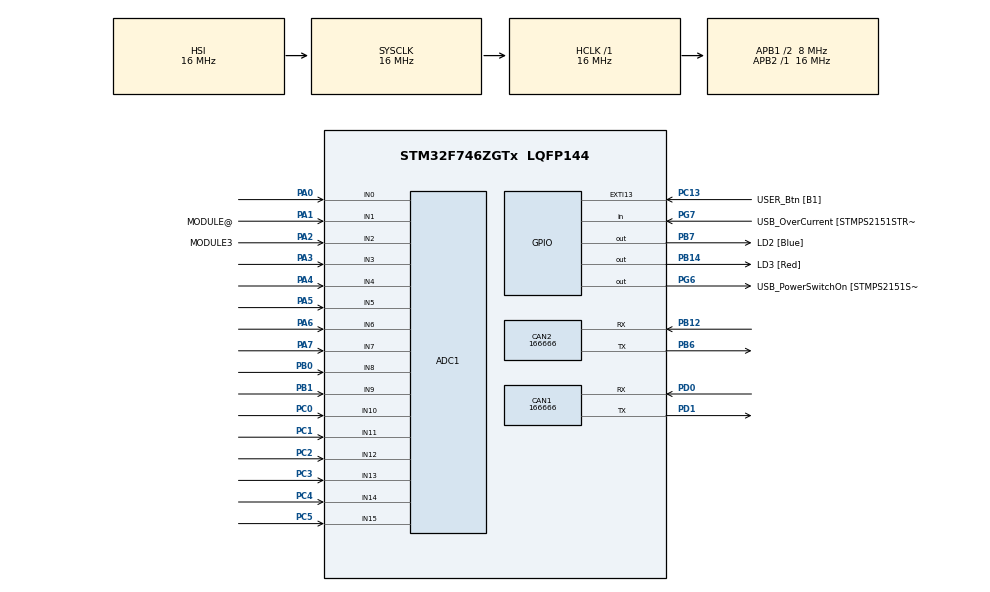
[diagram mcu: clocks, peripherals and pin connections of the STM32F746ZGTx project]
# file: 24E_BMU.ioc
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ADC1.Channel-0\#ChannelRegularConversion=ADC_CHANNEL_1
ADC1.ContinuousConvMode=DISABLE
ADC1.NbrOfConversionFlag=1
ADC1.Rank-0\#ChannelRegularConversion=1
ADC1.SamplingTime-0\#ChannelRegularConversion=ADC_SAMPLETIME_3CYCLES
ADC1.ScanConvMode=ADC_SCAN_ENABLE
ADC1.master=1
CAN1.CalculateBaudRate=166666
CAN1.CalculateTimeBit=6000
CAN1.CalculateTimeQuantum=2000.0
CAN2.CalculateBaudRate=166666
CAN2.CalculateTimeBit=6000
CAN2.CalculateTimeQuantum=2000.0
Mcu.Family=STM32F7
Mcu.Name=STM32F746ZGTx
Mcu.Package=LQFP144
NVIC.PriorityGroup=NVIC_PRIORITYGROUP_4
PA0/WKUP.Signal=ADCx_IN0
PA1.GPIO_Label=MODULE@
PA1.Signal=ADCx_IN1
PA10.GPIO_Label=USB_ID
PA10.Signal=USB_OTG_FS_ID
PA11.GPIO_Label=USB_DM
PA11.Signal=USB_OTG_FS_DM
PA12.GPIO_Label=USB_DP
PA12.Signal=USB_OTG_FS_DP
PA13.GPIO_Label=TMS
PA13.Signal=SYS_JTMS-SWDIO
PA14.GPIO_Label=TCK
PA14.Signal=SYS_JTCK-SWCLK
PA2.GPIO_Label=MODULE3
PA2.Signal=ADCx_IN2
PA3.Signal=ADCx_IN3
PA4.Signal=ADCx_IN4
PA5.Signal=ADCx_IN5
PA6.Signal=ADCx_IN6
PA7.Signal=ADCx_IN7
PA8.GPIO_Label=USB_SOF [TP1]
PA8.Signal=USB_OTG_FS_SOF
PA9.GPIO_Label=USB_VBUS
PA9.Signal=USB_OTG_FS_VBUS
PB0.Signal=ADCx_IN8
PB1.Signal=ADCx_IN9
PB12.Mode=CAN_Activate
PB12.Signal=CAN2_RX
PB13.GPIO_Label=RMII_TXD1 [LAN8742A-CZ-TR_TXD1]
PB13.Signal=ETH_TXD1
PB14.GPIO_Label=LD3 [Red]
PB14.Signal=GPIO_Output
PB3.GPIO_Label=SW0
PB3.Signal=SYS_JTDO-SWO
PB6.Mode=CAN_Activate
PB6.Signal=CAN2_TX
PB7.GPIO_Label=LD2 [Blue]
PB7.Signal=GPIO_Output
PC0.Signal=ADCx_IN10
PC1.Signal=ADCx_IN11
PC13.GPIO_Label=USER_Btn [B1]
PC13.Signal=GPXTI13
PC14/OSC32_IN.Signal=RCC_OSC32_IN
PC15/OSC32_OUT.Signal=RCC_OSC32_OUT
PC2.Signal=ADCx_IN12
PC3.Signal=ADCx_IN13
PC4.Signal=ADCx_IN14
PC5.Signal=ADCx_IN15
PD0.Mode=CAN_Activate
PD0.Signal=CAN1_RX
PD1.Mode=CAN_Activate
PD1.Signal=CAN1_TX
PD8.GPIO_Label=STLK_RX [STM32F103CBT6_PA3]
PD8.Signal=USART3_TX
PD9.GPIO_Label=STLK_TX [STM32F103CBT6_PA2]
PD9.Signal=USART3_RX
PG11.GPIO_Label=RMII_TX_EN [LAN8742A-CZ-TR_TXEN]
PG11.Signal=ETH_TX_EN
PG13.GPIO_Label=RMII_TXD0 [LAN8742A-CZ-TR_TXD0]
PG13.Signal=ETH_TXD0
PG6.GPIO_Label=USB_PowerSwitchOn [STMPS2151STR_EN]
PG6.Signal=GPIO_Output
PG7.GPIO_Label=USB_OverCurrent [STMPS2151STR_FAULT]
PG7.Signal=GPIO_Input
PH0/OSC_IN.GPIO_Label=MCO [STM32F103CBT6_PA8]
PH0/OSC_IN.Signal=RCC_OSC_IN
PH1/OSC_OUT.Signal=RCC_OSC_OUT
ProjectManager.HeapSize=0x200
ProjectManager.StackSize=0x400
ProjectManager.TargetToolchain=STM32CubeIDE
RCC.48MHZClocksFreq_Value=24000000
RCC.AHBFreq_Value=16000000
RCC.APB1CLKDivider=RCC_HCLK_DIV2
RCC.APB1Freq_Value=8000000
RCC.APB1TimFreq_Value=16000000
RCC.APB2Freq_Value=16000000
RCC.APB2TimFreq_Value=16000000
RCC.CortexFreq_Value=16000000
RCC.HCLKFreq_Value=16000000
RCC.HSE_VALUE=8000000
RCC.HSI_VALUE=16000000
RCC.LSE_VALUE=32768
RCC.PLLMUL=RCC_PLL_MUL9
RCC.PRESCALERUSB=RCC_USBCLKSOURCE_PLL_DIV1_5
RCC.SYSCLKFreq_VALUE=16000000
RCC.SYSCLKSourceVirtual=RCC_SYSCLKSOURCE_PLLCLK
RCC.USBFreq_Value=96000000
RCC.VCOOutputFreq_Value=192000000
SH.ADCx_IN0.0=ADC1_IN0,IN0
SH.ADCx_IN1.0=ADC1_IN1,IN1
SH.ADCx_IN10.0=ADC1_IN10,IN10
SH.ADCx_IN11.0=ADC1_IN11,IN11
SH.ADCx_IN12.0=ADC1_IN12,IN12
SH.ADCx_IN13.0=ADC1_IN13,IN13
SH.ADCx_IN14.0=ADC1_IN14,IN14
SH.ADCx_IN15.0=ADC1_IN15,IN15
SH.ADCx_IN2.0=ADC1_IN2,IN2
SH.ADCx_IN3.0=ADC1_IN3,IN3
SH.ADCx_IN4.0=ADC1_IN4,IN4
SH.ADCx_IN5.0=ADC1_IN5,IN5
SH.ADCx_IN6.0=ADC1_IN6,IN6
SH.ADCx_IN7.0=ADC1_IN7,IN7
SH.ADCx_IN8.0=ADC1_IN8,IN8
SH.ADCx_IN9.0=ADC1_IN9,IN9
board=NUCLEO-F746ZG

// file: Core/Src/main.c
/* USER CODE BEGIN Header */
/**
  ******************************************************************************
  * @file           : main.c
  * @brief          : Main program body
  ******************************************************************************
  * @attention
  *
  * Copyright (c) 2023 STMicroelectronics.
  * All rights reserved.
  *
  * This software is licensed under terms that can be found in the LICENSE file
  * in the root directory of this software component.
  * If no LICENSE file comes with this software, it is provided AS-IS.
  *
  ******************************************************************************
  */
/* USER CODE END Header */
#include "main.h"

ADC_HandleTypeDef hadc1;

CAN_HandleTypeDef hcan1;
CAN_HandleTypeDef hcan2;

void SystemClock_Config(void);
static void MX_GPIO_Init(void);
static void MX_ADC1_Init(void);
static void MX_CAN1_Init(void);
static void MX_CAN2_Init(void);

int main(void)
{
  /* USER CODE BEGIN 1 */
	int Max_Channels = 16;
	uint16_t adcValue[Max_Channels];
  /* USER CODE END 1 */

  /* MCU Configuration--------------------------------------------------------*/

  /* Reset of all peripherals, Initializes the Flash interface and the Systick. */
  HAL_Init();

  /* Configure the system clock */
  SystemClock_Config();

  /* Initialize all configured peripherals */
  MX_GPIO_Init();
  MX_ADC1_Init();
  MX_CAN1_Init();
  MX_CAN2_Init();
  /* USER CODE BEGIN 2 */
  void select_adc_channel(int channel)
  {
      ADC_ChannelConfTypeDef sConfig = {0};
      sConfig.SamplingTime = ADC_SAMPLETIME_15CYCLES;
      switch (channel)
      {
          case 1:
              sConfig.Channel = ADC_CHANNEL_0;
              sConfig.Rank = 1;

              if (HAL_ADC_ConfigChannel(&hadc1, &sConfig) != HAL_OK)
              {
                Error_Handler();
              }
              break;

          case 2:
                /** Configure for the selected ADC regular channel its corresponding rank in the sequencer and its sample time.
                */
                sConfig.Channel = ADC_CHANNEL_1;
                sConfig.Rank = 1;
                if (HAL_ADC_ConfigChannel(&hadc1, &sConfig) != HAL_OK)
                {
                  Error_Handler();
                }
                break;
                /** Configure for the selected ADC regular channel its corresponding rank in the sequencer and its sample time.
                */
          case 3:
                sConfig.Channel = ADC_CHANNEL_2;
                sConfig.Rank = 1;
                if (HAL_ADC_ConfigChannel(&hadc1, &sConfig) != HAL_OK)
                {
                  Error_Handler();
                }
                break;
                /** Configure for the selected ADC regular channel its corresponding rank in the sequencer and its sample time.
                */
          case 4:
                sConfig.Channel = ADC_CHANNEL_3;
                sConfig.Rank = 1;
                if (HAL_ADC_ConfigChannel(&hadc1, &sConfig) != HAL_OK)
                {
                  Error_Handler();
                }
                break;
                /** Configure for the selected ADC regular channel its corresponding rank in the sequencer and its sample time.
                */
          case 5:
                sConfig.Channel = ADC_CHANNEL_4;
                sConfig.Rank = 1;
                if (HAL_ADC_ConfigChannel(&hadc1, &sConfig) != HAL_OK)
                {
                  Error_Handler();
                }
                break;
                /** Configure for the selected ADC regular channel its corresponding rank in the sequencer and its sample time.
                */
          case 6:
                sConfig.Channel = ADC_CHANNEL_5;
                sConfig.Rank = 1;
                if (HAL_ADC_ConfigChannel(&hadc1, &sConfig) != HAL_OK)
                {
                  Error_Handler();
                }
                break;
                /** Configure for the selected ADC regular channel its corresponding rank in the sequencer and its sample time.
                */
          case 7:
                sConfig.Channel = ADC_CHANNEL_6;
                sConfig.Rank = 1;
                if (HAL_ADC_ConfigChannel(&hadc1, &sConfig) != HAL_OK)
                {
                  Error_Handler();
                }
                break;
                /** Configure for the selected ADC regular channel its corresponding rank in the sequencer and its sample time.
                */
          case 8:
                sConfig.Channel = ADC_CHANNEL_7;
                sConfig.Rank = 1;
                if (HAL_ADC_ConfigChannel(&hadc1, &sConfig) != HAL_OK)
                {
                  Error_Handler();
                }
                break;
                /** Configure for the selected ADC regular channel its corresponding rank in the sequencer and its sample time.
                */
          case 9:
                sConfig.Channel = ADC_CHANNEL_8;
                sConfig.Rank = 1;
                if (HAL_ADC_ConfigChannel(&hadc1, &sConfig) != HAL_OK)
                {
                  Error_Handler();
                }
                break;
                /** Configure for the selected ADC regular channel its corresponding rank in the sequencer and its sample time.
                */
          case 10:
                sConfig.Channel = ADC_CHANNEL_9;
                sConfig.Rank = 1;
                if (HAL_ADC_ConfigChannel(&hadc1, &sConfig) != HAL_OK)
                {
                  Error_Handler();
                }
                break;
                /** Configure for the selected ADC regular channel its corresponding rank in the sequencer and its sample time.
                */
          case 11:
                sConfig.Channel = ADC_CHANNEL_10;
                sConfig.Rank = 1;
                if (HAL_ADC_ConfigChannel(&hadc1, &sConfig) != HAL_OK)
                {
                  Error_Handler();
                }
                break;
                /** Configure for the selected ADC regular channel its corresponding rank in the sequencer and its sample time.
                */
          case 12:
                sConfig.Channel = ADC_CHANNEL_11;
                sConfig.Rank = 1;
                if (HAL_ADC_ConfigChannel(&hadc1, &sConfig) != HAL_OK)
                {
                  Error_Handler();
                }
                break;
                /** Configure for the selected ADC regular channel its corresponding rank in the sequencer and its sample time.
                */
          case 13:
                sConfig.Channel = ADC_CHANNEL_12;
                sConfig.Rank = 1;
                if (HAL_ADC_ConfigChannel(&hadc1, &sConfig) != HAL_OK)
                {
                  Error_Handler();
                }
                break;
                /** Configure for the selected ADC regular channel its corresponding rank in the sequencer and its sample time.
                */
          case 14:
                sConfig.Channel = ADC_CHANNEL_13;
                sConfig.Rank = 1;
                if (HAL_ADC_ConfigChannel(&hadc1, &sConfig) != HAL_OK)
                {
                  Error_Handler();
                }
                break;
                /** Configure for the selected ADC regular channel its corresponding rank in the sequencer and its sample time.
                */
          case 15:
                sConfig.Channel = ADC_CHANNEL_14;
                sConfig.Rank = 1;
                if (HAL_ADC_ConfigChannel(&hadc1, &sConfig) != HAL_OK)
                {
                  Error_Handler();
                }
                break;

          case 16:
                sConfig.Channel = ADC_CHANNEL_15;
                sConfig.Rank = 1;
                if (HAL_ADC_ConfigChannel(&hadc1, &sConfig) != HAL_OK)
                {
                  Error_Handler();
                }
                break;

          default:
              break;
      }
  }
  /* USER CODE END 2 */

  /* Infinite loop */
  while (1)
  {
	  for(int i = 0; i< Max_Channels; i++)
	  	  {
		  	  select_adc_channel(i+1);
	          HAL_ADC_Start(&hadc1);
	          HAL_ADC_PollForConversion(&hadc1, HAL_MAX_DELAY);
	          adcValue[i] = HAL_ADC_GetValue(&hadc1);
	          HAL_ADC_Stop(&hadc1);

	       }
	       HAL_Delay(1000);
  }
}

void SystemClock_Config(void)
{
  RCC_OscInitTypeDef RCC_OscInitStruct = {0};
  RCC_ClkInitTypeDef RCC_ClkInitStruct = {0};

  /** Configure the main internal regulator output voltage
  */
  __HAL_RCC_PWR_CLK_ENABLE();
  __HAL_PWR_VOLTAGESCALING_CONFIG(PWR_REGULATOR_VOLTAGE_SCALE3);

  /** Initializes the RCC Oscillators according to the specified parameters
  * in the RCC_OscInitTypeDef structure.
  */
  RCC_OscInitStruct.OscillatorType = RCC_OSCILLATORTYPE_HSI;
  RCC_OscInitStruct.HSIState = RCC_HSI_ON;
  RCC_OscInitStruct.HSICalibrationValue = RCC_HSICALIBRATION_DEFAULT;
  RCC_OscInitStruct.PLL.PLLState = RCC_PLL_NONE;
  if (HAL_RCC_OscConfig(&RCC_OscInitStruct) != HAL_OK)
  {
    Error_Handler();
  }

  /** Initializes the CPU, AHB and APB buses clocks
  */
  RCC_ClkInitStruct.ClockType = RCC_CLOCKTYPE_HCLK|RCC_CLOCKTYPE_SYSCLK
                              |RCC_CLOCKTYPE_PCLK1|RCC_CLOCKTYPE_PCLK2;
  RCC_ClkInitStruct.SYSCLKSource = RCC_SYSCLKSOURCE_HSI;
  RCC_ClkInitStruct.AHBCLKDivider = RCC_SYSCLK_DIV1;
  RCC_ClkInitStruct.APB1CLKDivider = RCC_HCLK_DIV2;
  RCC_ClkInitStruct.APB2CLKDivider = RCC_HCLK_DIV1;

  if (HAL_RCC_ClockConfig(&RCC_ClkInitStruct, FLASH_LATENCY_0) != HAL_OK)
  {
    Error_Handler();
  }
}

static void MX_ADC1_Init(void)
{

  ADC_ChannelConfTypeDef sConfig = {0};

  /** Configure the global features of the ADC (Clock, Resolution, Data Alignment and number of conversion)
  */
  hadc1.Instance = ADC1;
  hadc1.Init.ClockPrescaler = ADC_CLOCK_SYNC_PCLK_DIV2;
  hadc1.Init.Resolution = ADC_RESOLUTION_12B;
  hadc1.Init.ScanConvMode = ADC_SCAN_ENABLE;
  hadc1.Init.ContinuousConvMode = DISABLE;
  hadc1.Init.DiscontinuousConvMode = DISABLE;
  hadc1.Init.ExternalTrigConvEdge = ADC_EXTERNALTRIGCONVEDGE_NONE;
  hadc1.Init.ExternalTrigConv = ADC_SOFTWARE_START;
  hadc1.Init.DataAlign = ADC_DATAALIGN_RIGHT;
  hadc1.Init.NbrOfConversion = 1;
  hadc1.Init.DMAContinuousRequests = DISABLE;
  hadc1.Init.EOCSelection = ADC_EOC_SINGLE_CONV;
  if (HAL_ADC_Init(&hadc1) != HAL_OK)
  {
    Error_Handler();
  }

  /** Configure for the selected ADC regular channel its corresponding rank in the sequencer and its sample time.
  */
//  sConfig.Channel = ADC_CHANNEL_1;
//  sConfig.Rank = ADC_REGULAR_RANK_1;
//  sConfig.SamplingTime = ADC_SAMPLETIME_3CYCLES;
//  if (HAL_ADC_ConfigChannel(&hadc1, &sConfig) != HAL_OK)
//  {
//    Error_Handler();
//  }

}

static void MX_CAN1_Init(void)
{

  hcan1.Instance = CAN1;
  hcan1.Init.Prescaler = 16;
  hcan1.Init.Mode = CAN_MODE_NORMAL;
  hcan1.Init.SyncJumpWidth = CAN_SJW_1TQ;
  hcan1.Init.TimeSeg1 = CAN_BS1_1TQ;
  hcan1.Init.TimeSeg2 = CAN_BS2_1TQ;
  hcan1.Init.TimeTriggeredMode = DISABLE;
  hcan1.Init.AutoBusOff = DISABLE;
  hcan1.Init.AutoWakeUp = DISABLE;
  hcan1.Init.AutoRetransmission = DISABLE;
  hcan1.Init.ReceiveFifoLocked = DISABLE;
  hcan1.Init.TransmitFifoPriority = DISABLE;
  if (HAL_CAN_Init(&hcan1) != HAL_OK)
  {
    Error_Handler();
  }

}

static void MX_CAN2_Init(void)
{

  hcan2.Instance = CAN2;
  hcan2.Init.Prescaler = 16;
  hcan2.Init.Mode = CAN_MODE_NORMAL;
  hcan2.Init.SyncJumpWidth = CAN_SJW_1TQ;
  hcan2.Init.TimeSeg1 = CAN_BS1_1TQ;
  hcan2.Init.TimeSeg2 = CAN_BS2_1TQ;
  hcan2.Init.TimeTriggeredMode = DISABLE;
  hcan2.Init.AutoBusOff = DISABLE;
  hcan2.Init.AutoWakeUp = DISABLE;
  hcan2.Init.AutoRetransmission = DISABLE;
  hcan2.Init.ReceiveFifoLocked = DISABLE;
  hcan2.Init.TransmitFifoPriority = DISABLE;
  if (HAL_CAN_Init(&hcan2) != HAL_OK)
  {
    Error_Handler();
  }

}

static void MX_GPIO_Init(void)
{
  GPIO_InitTypeDef GPIO_InitStruct = {0};

  /* GPIO Ports Clock Enable */
  __HAL_RCC_GPIOC_CLK_ENABLE();
  __HAL_RCC_GPIOH_CLK_ENABLE();
  __HAL_RCC_GPIOA_CLK_ENABLE();
  __HAL_RCC_GPIOB_CLK_ENABLE();
  __HAL_RCC_GPIOD_CLK_ENABLE();
  __HAL_RCC_GPIOG_CLK_ENABLE();

  /*Configure GPIO pin Output Level */
  HAL_GPIO_WritePin(GPIOB, LD3_Pin|LD2_Pin, GPIO_PIN_RESET);

  /*Configure GPIO pin Output Level */
  HAL_GPIO_WritePin(USB_PowerSwitchOn_GPIO_Port, USB_PowerSwitchOn_Pin, GPIO_PIN_RESET);

  /*Configure GPIO pin : USER_Btn_Pin */
  GPIO_InitStruct.Pin = USER_Btn_Pin;
  GPIO_InitStruct.Mode = GPIO_MODE_IT_RISING;
  GPIO_InitStruct.Pull = GPIO_NOPULL;
  HAL_GPIO_Init(USER_Btn_GPIO_Port, &GPIO_InitStruct);

  /*Configure GPIO pin : RMII_TXD1_Pin */
  GPIO_InitStruct.Pin = RMII_TXD1_Pin;
  GPIO_InitStruct.Mode = GPIO_MODE_AF_PP;
  GPIO_InitStruct.Pull = GPIO_NOPULL;
  GPIO_InitStruct.Speed = GPIO_SPEED_FREQ_VERY_HIGH;
  GPIO_InitStruct.Alternate = GPIO_AF11_ETH;
  HAL_GPIO_Init(RMII_TXD1_GPIO_Port, &GPIO_InitStruct);

  /*Configure GPIO pins : LD3_Pin LD2_Pin */
  GPIO_InitStruct.Pin = LD3_Pin|LD2_Pin;
  GPIO_InitStruct.Mode = GPIO_MODE_OUTPUT_PP;
  GPIO_InitStruct.Pull = GPIO_NOPULL;
  GPIO_InitStruct.Speed = GPIO_SPEED_FREQ_LOW;
  HAL_GPIO_Init(GPIOB, &GPIO_InitStruct);

  /*Configure GPIO pins : STLK_RX_Pin STLK_TX_Pin */
  GPIO_InitStruct.Pin = STLK_RX_Pin|STLK_TX_Pin;
  GPIO_InitStruct.Mode = GPIO_MODE_AF_PP;
  GPIO_InitStruct.Pull = GPIO_NOPULL;
  GPIO_InitStruct.Speed = GPIO_SPEED_FREQ_VERY_HIGH;
  GPIO_InitStruct.Alternate = GPIO_AF7_USART3;
  HAL_GPIO_Init(GPIOD, &GPIO_InitStruct);

  /*Configure GPIO pin : USB_PowerSwitchOn_Pin */
  GPIO_InitStruct.Pin = USB_PowerSwitchOn_Pin;
  GPIO_InitStruct.Mode = GPIO_MODE_OUTPUT_PP;
  GPIO_InitStruct.Pull = GPIO_NOPULL;
  GPIO_InitStruct.Speed = GPIO_SPEED_FREQ_LOW;
  HAL_GPIO_Init(USB_PowerSwitchOn_GPIO_Port, &GPIO_InitStruct);

  /*Configure GPIO pin : USB_OverCurrent_Pin */
  GPIO_InitStruct.Pin = USB_OverCurrent_Pin;
  GPIO_InitStruct.Mode = GPIO_MODE_INPUT;
  GPIO_InitStruct.Pull = GPIO_NOPULL;
  HAL_GPIO_Init(USB_OverCurrent_GPIO_Port, &GPIO_InitStruct);

  /*Configure GPIO pins : USB_SOF_Pin USB_ID_Pin USB_DM_Pin USB_DP_Pin */
  GPIO_InitStruct.Pin = USB_SOF_Pin|USB_ID_Pin|USB_DM_Pin|USB_DP_Pin;
  GPIO_InitStruct.Mode = GPIO_MODE_AF_PP;
  GPIO_InitStruct.Pull = GPIO_NOPULL;
  GPIO_InitStruct.Speed = GPIO_SPEED_FREQ_VERY_HIGH;
  GPIO_InitStruct.Alternate = GPIO_AF10_OTG_FS;
  HAL_GPIO_Init(GPIOA, &GPIO_InitStruct);

  /*Configure GPIO pin : USB_VBUS_Pin */
  GPIO_InitStruct.Pin = USB_VBUS_Pin;
  GPIO_InitStruct.Mode = GPIO_MODE_INPUT;
  GPIO_InitStruct.Pull = GPIO_NOPULL;
  HAL_GPIO_Init(USB_VBUS_GPIO_Port, &GPIO_InitStruct);

  /*Configure GPIO pins : RMII_TX_EN_Pin RMII_TXD0_Pin */
  GPIO_InitStruct.Pin = RMII_TX_EN_Pin|RMII_TXD0_Pin;
  GPIO_InitStruct.Mode = GPIO_MODE_AF_PP;
  GPIO_InitStruct.Pull = GPIO_NOPULL;
  GPIO_InitStruct.Speed = GPIO_SPEED_FREQ_VERY_HIGH;
  GPIO_InitStruct.Alternate = GPIO_AF11_ETH;
  HAL_GPIO_Init(GPIOG, &GPIO_InitStruct);

}

void Error_Handler(void)
{
  __disable_irq();
  while (1)
  {
  }
}
